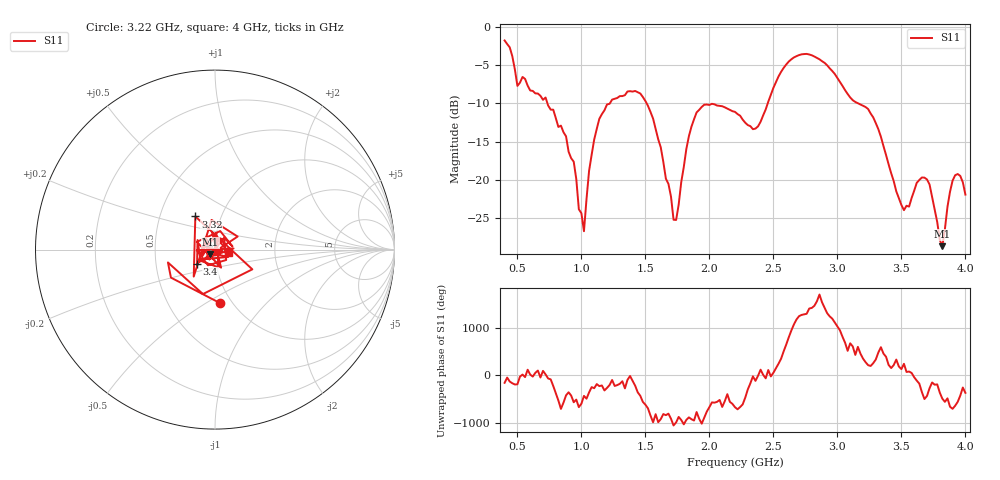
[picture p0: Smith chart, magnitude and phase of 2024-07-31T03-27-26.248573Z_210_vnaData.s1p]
!Created with skrf (http://scikit-rf.org).
# Hz S RI R 50.0
!freq ReS11 ImS11
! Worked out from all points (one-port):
!   181 points, 400 MHz to 4 GHz, reference 50 ohm
!   lowest |S11| = -28.7 dB at 3.82 GHz (marker M1), VSWR 1.08, Z = 47.3 - j2.41 ohm
!   |S11| at or under -10 dB: 735 MHz to 1.222 GHz (486.6 MHz wide, 49.7 % of centre); 1.51 GHz to 2.455 GHz (945.1 MHz wide, 47.7 % of centre); 3.164 GHz to end of sweep
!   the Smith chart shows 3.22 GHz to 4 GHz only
!   S11 on the Smith chart (normalised r, x): 3.22 GHz: 0.88, -0.58; 3.32 GHz: 0.75, +0.29; 3.4 GHz: 0.81, -0.13; 4 GHz: 1.17, -0.04
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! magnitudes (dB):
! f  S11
! 400 MHz  -1.8
! 500 MHz  -7.7
! 720 MHz  -9.2
! 860 MHz  -13.8
! 940 MHz  -17.6
! 1.02 GHz  -26.7
! 1.06 GHz  -18.8
! 1.14 GHz  -12.0
! 1.3 GHz  -9.0
! 1.5 GHz  -9.7
! 1.62 GHz  -15.7
! 1.72 GHz  -25.2
! 1.76 GHz  -23.2
! 1.82 GHz  -15.9
! 1.9 GHz  -11.2
! 2.2 GHz  -11.1
! 2.38 GHz  -13.0
! 2.66 GHz  -4.0
! 2.9 GHz  -4.7
! 3.1 GHz  -9.2
! 3.22 GHz  -10.5
! 3.32 GHz  -13.4
! 3.4 GHz  -18.0
! 3.56 GHz  -23.5
! 3.7 GHz  -19.9
! 3.82 GHz  -28.7
! 3.9 GHz  -20.1
! 4 GHz  -21.9
